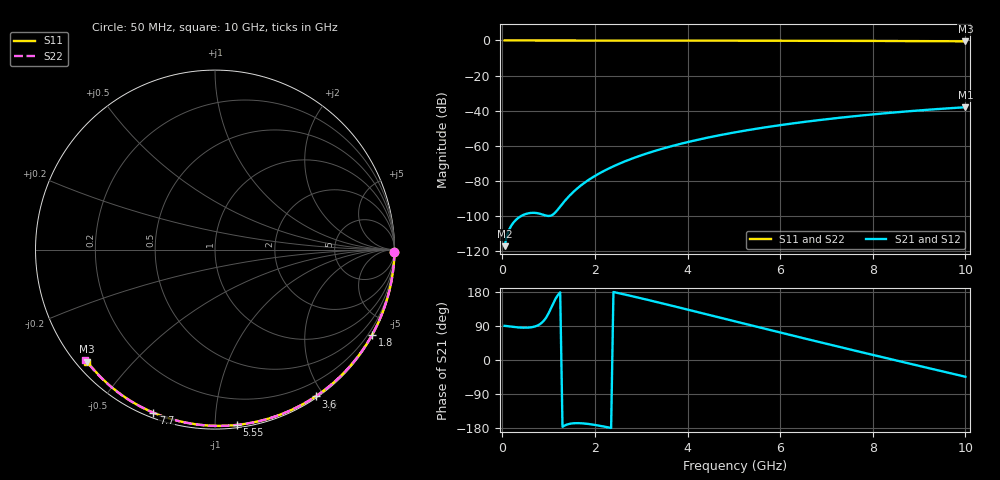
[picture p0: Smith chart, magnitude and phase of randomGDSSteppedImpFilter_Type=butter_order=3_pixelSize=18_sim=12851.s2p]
! freq	dB(S11)	phase(S11)	dB(S12)	phase(S12)
!  dB(S21)	phase(S21)	dB(S22)	phase(S22)
!S-par simulation data
#  GHz  S  DB  R 50
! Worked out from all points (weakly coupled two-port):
!   200 points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, 50 MHz to 10 GHz, reference 50 ohm
!   highest |S21| = -37.99 dB at 10 GHz (marker M1); lowest = -117.0 dB at 50 MHz (marker M2)
!   lowest |S11| = -0.5 dB at 10 GHz (marker M3), VSWR 36.28, Z = 1.57 - j18.8 ohm
!   |S11| at or under -10 dB: nowhere
!   |S22| runs from -0.5 to 0.0 dB; largest |S21 - S12| = 0
!   S11 on the Smith chart (normalised r, x): 50 MHz: open; 1.8 GHz: 0.03, -3.94; 3.6 GHz: 0.02, -1.90; 5.55 GHz: 0.02, -1.13; 7.7 GHz: 0.02, -0.69; 10 GHz: 0.03, -0.38
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0.05  -0.00 -0.8  -117.02 90.1  -117.02 90.1  -0.00 -0.8
0.45  -0.01 -7.2  -99.29 85.3  -99.29 85.3  -0.01 -7.3
0.9  -0.02 -14.4  -99.27 104.1  -99.27 104.1  -0.02 -14.5
1.75  -0.04 -27.7  -81.44 -167.4  -81.44 -167.4  -0.04 -27.9
1.8  -0.04 -28.5  -80.48 -168.0  -80.48 -168.0  -0.04 -28.7
1.85  -0.04 -29.2  -79.58 -168.7  -79.58 -168.7  -0.04 -29.5
2.05  -0.04 -32.3  -76.30 -172.3  -76.30 -172.3  -0.04 -32.6
2.25  -0.05 -35.4  -73.47 -176.9  -73.47 -176.9  -0.05 -35.7
2.55  -0.05 -40.0  -69.83 175.4  -69.83 175.4  -0.05 -40.3
2.95  -0.06 -46.0  -65.79 164.2  -65.79 164.2  -0.06 -46.3
3.4  -0.07 -52.7  -62.00 151.0  -62.00 151.0  -0.07 -53.0
3.6  -0.07 -55.6  -60.52 145.1  -60.52 145.1  -0.08 -56.0
3.9  -0.08 -59.9  -58.47 136.1  -58.47 136.1  -0.08 -60.4
4.3  -0.09 -65.7  -56.04 124.0  -56.04 124.0  -0.09 -66.1
5.05  -0.12 -76.1  -52.15 101.3  -52.15 101.3  -0.12 -76.7
5.55  -0.14 -82.9  -49.95 86.1  -49.95 86.1  -0.14 -83.5
6.1  -0.16 -90.2  -47.80 69.6  -47.80 69.6  -0.16 -90.9
6.7  -0.19 -98.1  -45.75 51.7  -45.75 51.7  -0.19 -98.7
7.7  -0.25 -110.7  -42.83 22.2  -42.83 22.2  -0.25 -111.4
8.35  -0.30 -118.7  -41.22 3.3  -41.22 3.3  -0.31 -119.5
9.2  -0.39 -129.1  -39.40 -21.2  -39.40 -21.2  -0.38 -129.9
10  -0.48 -138.8  -37.99 -44.2  -37.99 -44.2  -0.47 -139.6
